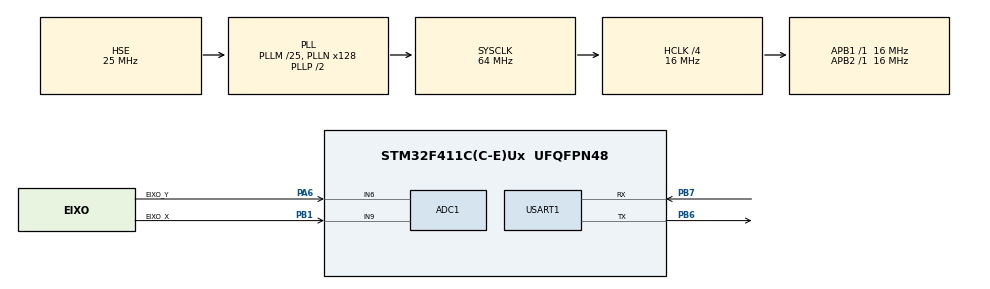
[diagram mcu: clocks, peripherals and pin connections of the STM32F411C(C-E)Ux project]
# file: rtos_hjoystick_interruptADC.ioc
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ADC1.Channel-0\#ChannelRegularConversion=ADC_CHANNEL_9
ADC1.NbrOfConversionFlag=1
ADC1.Rank-0\#ChannelRegularConversion=1
ADC1.SamplingTime-0\#ChannelRegularConversion=ADC_SAMPLETIME_112CYCLES
ADC1.master=1
FREERTOS.BinarySemaphores01=uartSemaphore,Dynamic,NULL,Available
FREERTOS.Events01=adcEvent,Dynamic,NULL;usartEvent,Dynamic,NULL
FREERTOS.Tasks01=joystickTask,24,512,JoystickTask,Default,NULL,Dynamic,NULL,NULL
Mcu.Family=STM32F4
Mcu.Name=STM32F411C(C-E)Ux
Mcu.Package=UFQFPN48
NVIC.ADC_IRQn=true\:5\:0\:false\:false\:true\:true\:true\:true\:true
NVIC.PriorityGroup=NVIC_PRIORITYGROUP_4
NVIC.TIM2_IRQn=true\:15\:0\:false\:false\:true\:false\:false\:true\:true
NVIC.TimeBase=TIM2_IRQn
NVIC.TimeBaseIP=TIM2
NVIC.USART1_IRQn=true\:5\:0\:false\:false\:true\:true\:true\:true\:true
PA13.Mode=Serial_Wire
PA13.Signal=SYS_JTMS-SWDIO
PA14.Mode=Serial_Wire
PA14.Signal=SYS_JTCK-SWCLK
PA6.GPIO_Label=EIXO_Y
PA6.Signal=ADCx_IN6
PB1.GPIO_Label=EIXO_X
PB1.Signal=ADCx_IN9
PB6.Mode=Asynchronous
PB6.Signal=USART1_TX
PB7.Mode=Asynchronous
PB7.Signal=USART1_RX
PH0\ -\ OSC_IN.Mode=HSE-External-Oscillator
PH0\ -\ OSC_IN.Signal=RCC_OSC_IN
PH1\ -\ OSC_OUT.Mode=HSE-External-Oscillator
PH1\ -\ OSC_OUT.Signal=RCC_OSC_OUT
ProjectManager.HeapSize=0x200
ProjectManager.StackSize=0x400
ProjectManager.TargetToolchain=STM32CubeIDE
RCC.48MHZClocksFreq_Value=32000000
RCC.AHBCLKDivider=RCC_SYSCLK_DIV4
RCC.AHBFreq_Value=16000000
RCC.APB1Freq_Value=16000000
RCC.APB1TimFreq_Value=16000000
RCC.APB2Freq_Value=16000000
RCC.APB2TimFreq_Value=16000000
RCC.CortexFreq_Value=16000000
RCC.HCLKFreq_Value=16000000
RCC.HSE_VALUE=25000000
RCC.HSI_VALUE=16000000
RCC.LSE_VALUE=32768
RCC.PLLM=25
RCC.PLLN=128
RCC.PLLSourceVirtual=RCC_PLLSOURCE_HSE
RCC.SYSCLKFreq_VALUE=64000000
RCC.SYSCLKSource=RCC_SYSCLKSOURCE_PLLCLK
RCC.VCOOutputFreq_Value=128000000
SH.ADCx_IN6.0=ADC1_IN6,IN6
SH.ADCx_IN9.0=ADC1_IN9,IN9
USART1.VirtualMode=VM_ASYNC
VP_FREERTOS_VS_CMSIS_V2.Mode=CMSIS_V2
VP_SYS_VS_tim2.Mode=TIM2
board=custom

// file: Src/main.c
/* USER CODE BEGIN Header */
/**
  ******************************************************************************
  * @file           : main.c
  * @brief          : Main program body
  ******************************************************************************
  * @attention
  *
  * Copyright (c) 2026 STMicroelectronics.
  * All rights reserved.
  *
  * This software is licensed under terms that can be found in the LICENSE file
  * in the root directory of this software component.
  * If no LICENSE file comes with this software, it is provided AS-IS.
  *
  ******************************************************************************
  */
/* USER CODE END Header */
#include "main.h"
#include "cmsis_os.h"
#include "adc.h"
#include "usart.h"
#include "gpio.h"

void SystemClock_Config(void);
void MX_FREERTOS_Init(void);

int main(void)
{

  /* MCU Configuration--------------------------------------------------------*/

  /* Reset of all peripherals, Initializes the Flash interface and the Systick. */
  HAL_Init();

  /* Configure the system clock */
  SystemClock_Config();

  /* Initialize all configured peripherals */
  MX_GPIO_Init();
  MX_ADC1_Init();
  MX_USART1_UART_Init();

  /* Init scheduler */
  osKernelInitialize();  /* Call init function for freertos objects (in cmsis_os2.c) */
  MX_FREERTOS_Init();

  /* Start scheduler */
  osKernelStart();

  /* We should never get here as control is now taken by the scheduler */

  /* Infinite loop */
  while (1)
  {

  }
}

void SystemClock_Config(void)
{
  RCC_OscInitTypeDef RCC_OscInitStruct = {0};
  RCC_ClkInitTypeDef RCC_ClkInitStruct = {0};

  /** Configure the main internal regulator output voltage
  */
  __HAL_RCC_PWR_CLK_ENABLE();
  __HAL_PWR_VOLTAGESCALING_CONFIG(PWR_REGULATOR_VOLTAGE_SCALE1);

  /** Initializes the RCC Oscillators according to the specified parameters
  * in the RCC_OscInitTypeDef structure.
  */
  RCC_OscInitStruct.OscillatorType = RCC_OSCILLATORTYPE_HSE;
  RCC_OscInitStruct.HSEState = RCC_HSE_ON;
  RCC_OscInitStruct.PLL.PLLState = RCC_PLL_ON;
  RCC_OscInitStruct.PLL.PLLSource = RCC_PLLSOURCE_HSE;
  RCC_OscInitStruct.PLL.PLLM = 25;
  RCC_OscInitStruct.PLL.PLLN = 128;
  RCC_OscInitStruct.PLL.PLLP = RCC_PLLP_DIV2;
  RCC_OscInitStruct.PLL.PLLQ = 4;
  if (HAL_RCC_OscConfig(&RCC_OscInitStruct) != HAL_OK)
  {
    Error_Handler();
  }

  /** Initializes the CPU, AHB and APB buses clocks
  */
  RCC_ClkInitStruct.ClockType = RCC_CLOCKTYPE_HCLK|RCC_CLOCKTYPE_SYSCLK
                              |RCC_CLOCKTYPE_PCLK1|RCC_CLOCKTYPE_PCLK2;
  RCC_ClkInitStruct.SYSCLKSource = RCC_SYSCLKSOURCE_PLLCLK;
  RCC_ClkInitStruct.AHBCLKDivider = RCC_SYSCLK_DIV4;
  RCC_ClkInitStruct.APB1CLKDivider = RCC_HCLK_DIV1;
  RCC_ClkInitStruct.APB2CLKDivider = RCC_HCLK_DIV1;

  if (HAL_RCC_ClockConfig(&RCC_ClkInitStruct, FLASH_LATENCY_0) != HAL_OK)
  {
    Error_Handler();
  }
}

void Error_Handler(void)
{
  __disable_irq();
  while (1)
  {
  }
}

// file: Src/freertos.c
/* USER CODE BEGIN Header */
/**
  ******************************************************************************
  * @file           : freertos.c
  * @brief          : Leitura de joystick via ADC com processamento em RTOS e saída UART
  * @author         : Pedro Henrique Guerra
  * @date           : 20/04/2026
  *
  * @details
  * Este módulo implementa a leitura de um joystick analógico (2 eixos)
  * utilizando o ADC do STM32 em modo interrupção, integrado ao FreeRTOS.
  *
  * A aquisição dos dados é feita de forma contínua e não bloqueante,
  * alternando dinamicamente entre dois canais ADC (X e Y).
  *
  * Os valores são processados em uma task dedicada e convertidos em
  * representação visual ASCII, transmitida via UART utilizando
  * comunicação não bloqueante (interrupt-driven).
  *
  * ---------------------------------------------------------------------------
  * Arquitetura do sistema:
  *
  * ADC (interrupção)
  *     ↓
  * Atualização de variáveis globais (adc_x_raw, adc_y_raw)
  *     ↓
  * Task (JoystickTask)
  *     ↓
  * Processamento → Geração de barra ASCII
  *     ↓
  * UART (IT)
  *     ↓
  * Callback UART → Liberação de semáforo
  *
  * ---------------------------------------------------------------------------
  * Fluxo RTOS:
  *
  * UART disponível → Semaphore liberado →
  * Task executa → monta buffer → transmite via UART →
  * Callback UART → libera semáforo novamente
  *
  * ---------------------------------------------------------------------------
  * Características:
  *
  * - Arquitetura não bloqueante
  * - Separação clara entre ISR e processamento
  * - Uso de semáforo para sincronização UART
  * - Baixo acoplamento entre aquisição e exibição
  *
  ******************************************************************************
  * @attention
  *
  * Copyright (c) 2026 STMicroelectronics.
  * All rights reserved.
  *
  * This software is licensed under terms that can be found in the LICENSE file
  * in the root directory of this software component.
  * If no LICENSE file comes with this software, it is provided AS-IS.
  *
  ******************************************************************************
  */
/* USER CODE END Header */

#include "FreeRTOS.h"
#include "task.h"
#include "main.h"
#include "cmsis_os.h"

/* USER CODE BEGIN Includes */

#include "adc.h"
#include "usart.h"
/* USER CODE END Includes */

/* USER CODE BEGIN PD */
/**
 * @def BAR_WIDTH
 * @brief Largura da barra ASCII utilizada para representar o valor do joystick.
 *
 * Define o número de posições possíveis exibidas para cada eixo.
 */

#define BAR_WIDTH   40

/**
 * @def ADC_MAX
 * @brief Valor máximo do conversor ADC de 12 bits.
 *
 * Usado para normalizar o valor lido e mapear para a posição da barra.
 */

#define ADC_MAX     4095
/* USER CODE END PD */

/* USER CODE BEGIN Variables */
/**
 * @brief Valor bruto do eixo X do joystick.
 *
 * Atualizado dentro da interrupção de conversão do ADC.
 */
volatile uint16_t adc_x_raw;
/**
 * @brief Valor bruto do eixo Y do joystick.
 *
 * Atualizado dentro da interrupção de conversão do ADC.
 */
volatile uint16_t adc_y_raw;

/**
 * @brief Canal ADC atualmente configurado.
 *
 * Utilizado para alternar dinamicamente entre os canais
 * correspondentes aos eixos X e Y do joystick.
 */

volatile uint8_t  adc_channel = ADC_CHANNEL_9;

/**
 * @brief Buffer de transmissão UART.
 *
 * Armazena a string ASCII enviada ao terminal.
 */

uint8_t tx_buffer[100];

/* USER CODE END Variables */
/* Definitions for joystickTask */
osThreadId_t joystickTaskHandle;
const osThreadAttr_t joystickTask_attributes = {
  .name = "joystickTask",
  .stack_size = 512 * 4,
  .priority = (osPriority_t) osPriorityNormal,
};
/* Definitions for uartSemaphore */
osSemaphoreId_t uartSemaphoreHandle;
const osSemaphoreAttr_t uartSemaphore_attributes = {
  .name = "uartSemaphore"
};

/* USER CODE BEGIN FunctionPrototypes */
void HAL_UART_TxCpltCallback(UART_HandleTypeDef *huart);
void HAL_ADC_ConvCpltCallback(ADC_HandleTypeDef* hadc);
/* USER CODE END FunctionPrototypes */

void JoystickTask(void *argument);

void MX_FREERTOS_Init(void); /* (MISRA C 2004 rule 8.1) */

void MX_FREERTOS_Init(void) {

  /* Create the semaphores(s) */
  /* creation of uartSemaphore */
  uartSemaphoreHandle = osSemaphoreNew(1, 1, &uartSemaphore_attributes);

  /* Create the thread(s) */
  /* creation of joystickTask */
  joystickTaskHandle = osThreadNew(JoystickTask, NULL, &joystickTask_attributes);

  /* Create the event(s) */

}

/* USER CODE BEGIN Header_JoystickTask */
/**
  * @brief Task responsável pelo processamento e envio dos dados do joystick.
  *
  * @details
  * Esta task executa continuamente as seguintes etapas:
  *
  * 1. Aguarda disponibilidade da UART via semáforo
  * 2. Converte os valores ADC em posição na barra ASCII
  * 3. Constrói a string de saída
  * 4. Envia os dados via UART (modo não bloqueante)
  * 5. Aguarda próximo ciclo de execução
  *
  * Sincronização:
  * - O semáforo garante que apenas uma transmissão UART ocorra por vez
  * - A liberação do semáforo ocorre no callback da UART
  *
  * @param argument Parâmetro não utilizado
  */
/* USER CODE END Header_JoystickTask */
void JoystickTask(void *argument)
{
  /* USER CODE BEGIN JoystickTask */
  HAL_ADC_Start_IT(&hadc1);
  strcpy((char *)tx_buffer, "\rX: [");
  /* Infinite loop */
	while(1)
	    {
	        osSemaphoreAcquire(uartSemaphoreHandle, osWaitForever);

	        uint8_t bar_x_pos = (adc_x_raw * BAR_WIDTH) / ADC_MAX;
	        uint8_t bar_y_pos = (adc_y_raw * BAR_WIDTH) / ADC_MAX;

	        uint8_t i;

	        for (i = 0; i < BAR_WIDTH; i++)
	            tx_buffer[5+i] = (i == bar_x_pos ? 'o' : ' ');

	        tx_buffer[5+i] = '\0';
	        strcat((char *)tx_buffer, "]  Y: [");

	        for (i = 0; i < BAR_WIDTH; i++)
	            tx_buffer[52+i] = (i == bar_y_pos ? 'o' : ' ');

	        tx_buffer[52+i] = '\0';
	        strcat((char *)tx_buffer, "]");

	        HAL_UART_Transmit_IT(&huart1, tx_buffer, strlen((char *)tx_buffer)+1);

	        osDelay(50); // taxa de atualização
	    }
  /* USER CODE END JoystickTask */
}

/* USER CODE BEGIN Application */

/**
 * @brief Callback executado ao término da transmissão UART.
 *
 * @param huart Ponteiro para a UART que gerou a interrupção.
 *
 * @details
 * Esta função é chamada automaticamente pela HAL ao final da transmissão
 * em modo não bloqueante (HAL_UART_Transmit_IT).
 *
 * Responsabilidades:
 * - Reinicializar o buffer de transmissão
 * - Liberar o semáforo para permitir nova transmissão
 *
 * @note Executa em contexto de interrupção (ISR)
 */

void HAL_UART_TxCpltCallback(UART_HandleTypeDef *huart)
{
    if (huart->Instance == USART1)
    {
        strcpy((char *)tx_buffer, "\rX: [");

        osSemaphoreRelease(uartSemaphoreHandle);
    }
}

/**
 * @brief Callback executado ao término de uma conversão ADC.
 *
 * @param hadc Ponteiro para o ADC que gerou a interrupção.
 *
 * @details
 * Implementa multiplexação manual de canais ADC para leitura de dois eixos.
 *
 * Funcionamento:
 *
 * - Se canal atual for X:
 *      → Armazena valor em adc_x_raw
 *      → Alterna para canal Y
 *
 * - Se canal atual for Y:
 *      → Armazena valor em adc_y_raw
 *      → Alterna para canal X
 *
 * Após alternância:
 * - Reconfigura o ADC
 * - Reinicia conversão em modo interrupção
 *
 * @note Executa em contexto de interrupção (ISR)
 * @warning Deve ser leve e rápida — evitar processamento pesado aqui
 */

void HAL_ADC_ConvCpltCallback(ADC_HandleTypeDef* hadc)
{
    uint16_t value = HAL_ADC_GetValue(hadc);

    ADC_ChannelConfTypeDef sConfig = {0};

    if (adc_channel == ADC_CHANNEL_9)
    {
        adc_x_raw = value;

        sConfig.Channel = ADC_CHANNEL_6;
        adc_channel = ADC_CHANNEL_6;
    }
    else
    {
        adc_y_raw = value;

        sConfig.Channel = ADC_CHANNEL_9;
        adc_channel = ADC_CHANNEL_9;
    }

    sConfig.Rank = 1;
    sConfig.SamplingTime = ADC_SAMPLETIME_112CYCLES;

    HAL_ADC_ConfigChannel(&hadc1, &sConfig);
    HAL_ADC_Start_IT(&hadc1);
}
/* USER CODE END Application */
